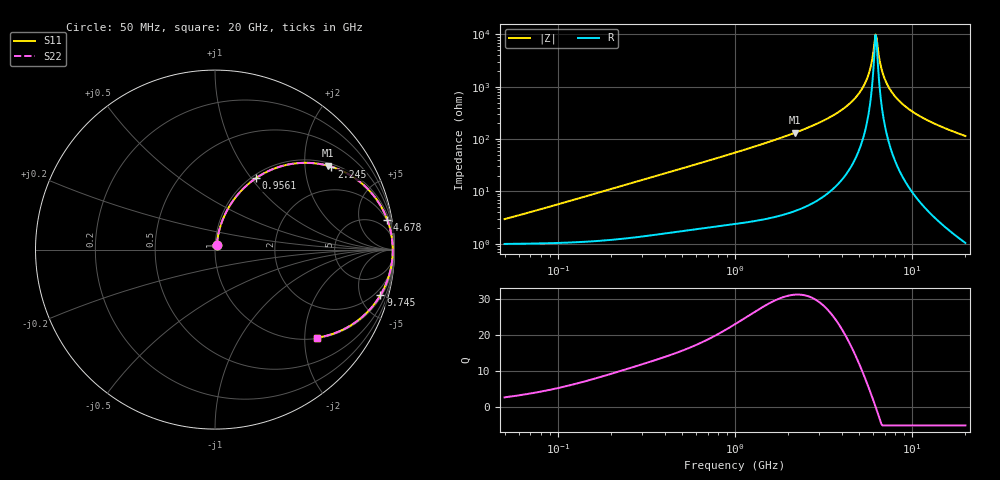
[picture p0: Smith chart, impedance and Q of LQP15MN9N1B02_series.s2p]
!Murata Part Number: LQP15MN9N1B02
!These Parameters are Measured in Series Mode Connection
!  o--[Z]--o
!Port1  Port2
!  o-------o
!Freq. Start=50[MHz] Stop=20[GHz], 401[Steps]
# Hz S RI R 50
!Freq.(Hz) S11(Real) S11(Imag) S21(Real) S21(Imag) S12(Real) S12(Imag) S22(Real) S22(Imag)
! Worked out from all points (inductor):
!   401 points, 50 MHz to 20 GHz, reference 50 ohm
!   read as one part in series: L = 8.87 nH near 53.89 MHz
!   highest Q = 31.3 at 2.179 GHz (marker M1), where L = 9.64 nH
!   self-resonance near 6.218 GHz
!   S11 on the Smith chart (normalised r, x): 50 MHz: 1.02, +0.06; 956.1 MHz: 1.05, +1.05; 2.245 GHz: 1.09, +2.74; 4.678 GHz: 2, +11; 9.745 GHz: 1.22, -7.18; 20 GHz: 1.02, -2.29
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5e7  0.0106 0.0273  0.9894 -0.0273  0.9894 -0.0273  0.0106 0.0273
1.364002e8  0.0162 0.0738  0.9838 -0.0738  0.9838 -0.0738  0.0162 0.0738
3.721004e8  0.0533 0.1906  0.9467 -0.1906  0.9467 -0.1906  0.0533 0.1906
9.560587e8  0.2262 0.3968  0.7738 -0.3968  0.7738 -0.3968  0.2262 0.3968
1e9  0.2418 0.4071  0.7582 -0.4071  0.7582 -0.4071  0.2418 0.4071
2.179053e9  0.6314 0.4667  0.3686 -0.4667  0.3686 -0.4667  0.6314 0.4667
2.245319e9  0.6485 0.4618  0.3515 -0.4618  0.3515 -0.4618  0.6485 0.4618
2.728004e9  0.7555 0.4137  0.2445 -0.4137  0.2445 -0.4137  0.7555 0.4137
3.736399e9  0.8957 0.2856  0.1043 -0.2856  0.1043 -0.2856  0.8957 0.2856
4.677679e9  0.9596 0.1673  0.0404 -0.1673  0.0404 -0.1673  0.9596 0.1673
5.117541e9  0.9755 0.1163  0.0245 -0.1163  0.0245 -0.1163  0.9755 0.1163
5.515528e9  0.9844 0.0728  0.0156 -0.0728  0.0156 -0.0728  0.9844 0.0728
5.769027e9  0.9878 0.0464  0.0122 -0.0464  0.0122 -0.0464  0.9878 0.0464
6.125241e9  0.9901 0.011  0.00986 -0.011  0.00986 -0.011  0.9901 0.011
6.217679e9  0.9903 0.00215  0.00968 -0.00215  0.00968 -0.00215  0.9903 0.00215
6.406762e9  0.9902 -0.0156  0.0098 0.0156  0.0098 0.0156  0.9902 -0.0156
6.802353e9  0.988 -0.051  0.012 0.051  0.012 0.051  0.988 -0.051
7.442007e9  0.9799 -0.1038  0.0201 0.1038  0.0201 0.1038  0.9799 -0.1038
8.389408e9  0.9602 -0.1726  0.0398 0.1726  0.0398 0.1726  0.9602 -0.1726
9.745021e9  0.9215 -0.2541  0.0785 0.2541  0.0785 0.2541  0.9215 -0.2541
1.334722e10  0.7932 -0.397  0.2068 0.397  0.2068 0.397  0.7932 -0.397
2e10  0.5667 -0.491  0.4333 0.491  0.4333 0.491  0.5667 -0.491
